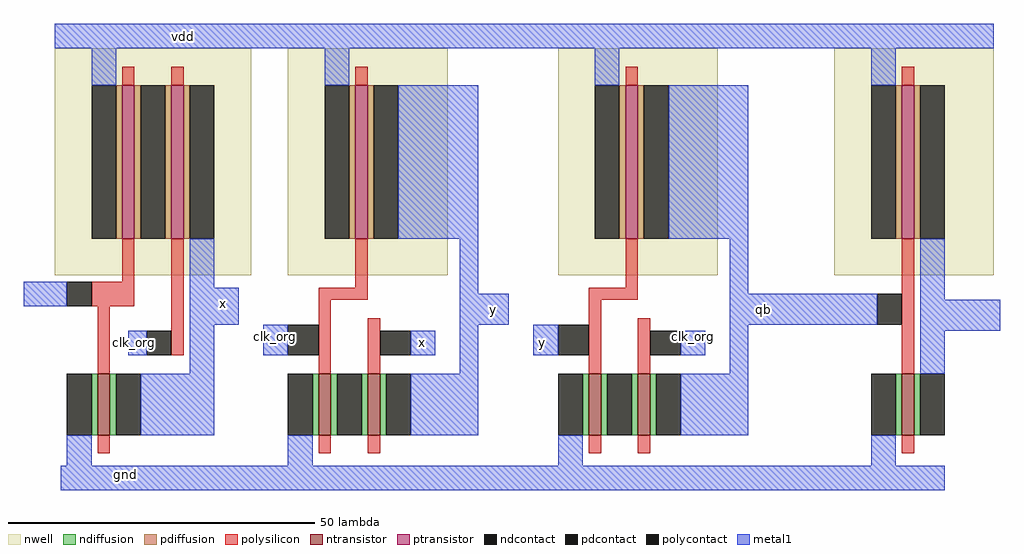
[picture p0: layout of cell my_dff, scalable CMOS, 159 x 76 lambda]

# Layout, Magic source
magic
tech scmos
<< nwell >>
rect 13 -87 45 -50
rect 51 -87 77 -50
rect 95 -87 121 -50
rect 140 -87 166 -50
<< ntransistor >>
rect 20 -113 22 -103
rect 56 -113 58 -103
rect 64 -113 66 -103
rect 100 -113 102 -103
rect 108 -113 110 -103
rect 151 -113 153 -103
<< ptransistor >>
rect 24 -81 26 -56
rect 32 -81 34 -56
rect 62 -81 64 -56
rect 106 -81 108 -56
rect 151 -81 153 -56
<< ndiffusion >>
rect 19 -113 20 -103
rect 22 -113 23 -103
rect 55 -113 56 -103
rect 58 -113 59 -103
rect 63 -113 64 -103
rect 66 -113 67 -103
rect 99 -113 100 -103
rect 102 -113 103 -103
rect 107 -113 108 -103
rect 110 -113 111 -103
rect 150 -113 151 -103
rect 153 -113 154 -103
<< pdiffusion >>
rect 23 -81 24 -56
rect 26 -81 27 -56
rect 31 -81 32 -56
rect 34 -81 35 -56
rect 61 -81 62 -56
rect 64 -81 65 -56
rect 105 -81 106 -56
rect 108 -81 109 -56
rect 150 -81 151 -56
rect 153 -81 154 -56
<< ndcontact >>
rect 15 -113 19 -103
rect 23 -113 27 -103
rect 51 -113 55 -103
rect 59 -113 63 -103
rect 67 -113 71 -103
rect 95 -113 99 -103
rect 103 -113 107 -103
rect 111 -113 115 -103
rect 146 -113 150 -103
rect 154 -113 158 -103
<< pdcontact >>
rect 19 -81 23 -56
rect 27 -81 31 -56
rect 35 -81 39 -56
rect 57 -81 61 -56
rect 65 -81 69 -56
rect 101 -81 105 -56
rect 109 -81 113 -56
rect 146 -81 150 -56
rect 154 -81 158 -56
<< polysilicon >>
rect 24 -56 26 -53
rect 32 -56 34 -53
rect 62 -56 64 -53
rect 106 -56 108 -53
rect 151 -56 153 -53
rect 24 -88 26 -81
rect 19 -92 26 -88
rect 20 -103 22 -92
rect 32 -100 34 -81
rect 62 -89 64 -81
rect 106 -89 108 -81
rect 56 -91 64 -89
rect 100 -91 108 -89
rect 56 -103 58 -91
rect 64 -103 66 -94
rect 100 -103 102 -91
rect 108 -103 110 -94
rect 151 -103 153 -81
rect 20 -116 22 -113
rect 56 -116 58 -113
rect 64 -116 66 -113
rect 100 -116 102 -113
rect 108 -116 110 -113
rect 151 -116 153 -113
<< polycontact >>
rect 15 -92 19 -88
rect 28 -100 32 -96
rect 51 -100 56 -95
rect 66 -100 71 -96
rect 95 -100 100 -95
rect 147 -95 151 -90
rect 110 -100 115 -96
<< metal1 >>
rect 13 -50 166 -46
rect 19 -56 23 -50
rect 57 -56 61 -50
rect 101 -56 105 -50
rect 146 -56 150 -50
rect 69 -81 82 -56
rect 113 -81 126 -56
rect 8 -92 15 -88
rect 35 -89 39 -81
rect 35 -95 43 -89
rect 79 -90 82 -81
rect 123 -90 126 -81
rect 79 -95 87 -90
rect 123 -95 147 -90
rect 154 -91 158 -81
rect 25 -100 28 -96
rect 35 -103 39 -95
rect 47 -100 51 -95
rect 71 -100 75 -96
rect 79 -103 82 -95
rect 91 -100 95 -95
rect 115 -100 119 -96
rect 123 -103 126 -95
rect 154 -96 167 -91
rect 154 -103 158 -96
rect 27 -113 39 -103
rect 71 -113 82 -103
rect 115 -113 126 -103
rect 15 -118 19 -113
rect 51 -118 55 -113
rect 95 -118 99 -113
rect 146 -118 150 -113
rect 14 -122 158 -118
<< labels >>
rlabel metal1 23 -120 26 -119 1 gnd
rlabel metal1 40 -92 41 -91 1 x
rlabel metal1 72 -99 74 -97 7 x
rlabel metal1 84 -93 85 -92 7 y
rlabel metal1 92 -99 93 -97 1 y
rlabel metal1 128 -93 129 -92 1 qb
rlabel metal1 26 -98 26 -98 1 clk_org
rlabel metal1 49 -97 49 -97 1 clk_org
rlabel metal1 117 -97 117 -97 1 clk_org
rlabel metal1 34 -48 34 -48 5 vdd
<< end >>
